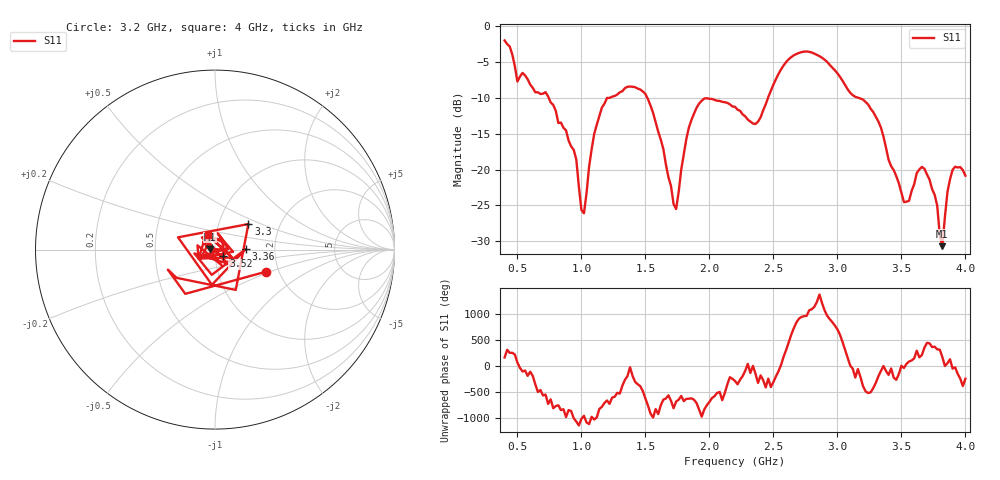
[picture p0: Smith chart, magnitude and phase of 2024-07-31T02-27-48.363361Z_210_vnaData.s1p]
!Created with skrf (http://scikit-rf.org).
# Hz S RI R 50.0
!freq ReS11 ImS11
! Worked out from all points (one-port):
!   181 points, 400 MHz to 4 GHz, reference 50 ohm
!   lowest |S11| = -30.7 dB at 3.82 GHz (marker M1), VSWR 1.06, Z = 47.2 + j0.378 ohm
!   |S11| at or under -10 dB: 745.2 MHz to 1.2 GHz (454.6 MHz wide, 46.7 % of centre); 1.516 GHz to 2.457 GHz (941.7 MHz wide, 47.4 % of centre); 3.169 GHz to end of sweep
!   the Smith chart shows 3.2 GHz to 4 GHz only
!   S11 on the Smith chart (normalised r, x): 3.2 GHz: 1.71, -0.47; 3.3 GHz: 1.38, +0.42; 3.36 GHz: 1.41, +0.00; 3.52 GHz: 1.09, -0.08; 4 GHz: 0.91, +0.15
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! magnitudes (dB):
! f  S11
! 400 MHz  -2.0
! 500 MHz  -7.7
! 720 MHz  -9.2
! 860 MHz  -14.2
! 960 MHz  -18.6
! 1.02 GHz  -26.1
! 1.14 GHz  -12.5
! 1.3 GHz  -9.2
! 1.5 GHz  -9.4
! 1.72 GHz  -24.8
! 1.76 GHz  -23.1
! 1.84 GHz  -14.1
! 1.92 GHz  -10.8
! 2.2 GHz  -11.2
! 2.36 GHz  -13.6
! 2.66 GHz  -4.0
! 2.88 GHz  -4.4
! 3.1 GHz  -9.3
! 3.2 GHz  -10.2
! 3.3 GHz  -12.6
! 3.36 GHz  -15.4
! 3.52 GHz  -24.5
! 3.56 GHz  -24.3
! 3.68 GHz  -19.9
! 3.78 GHz  -25.0
! 3.82 GHz  -30.7
! 3.9 GHz  -20.0
! 4 GHz  -20.8
